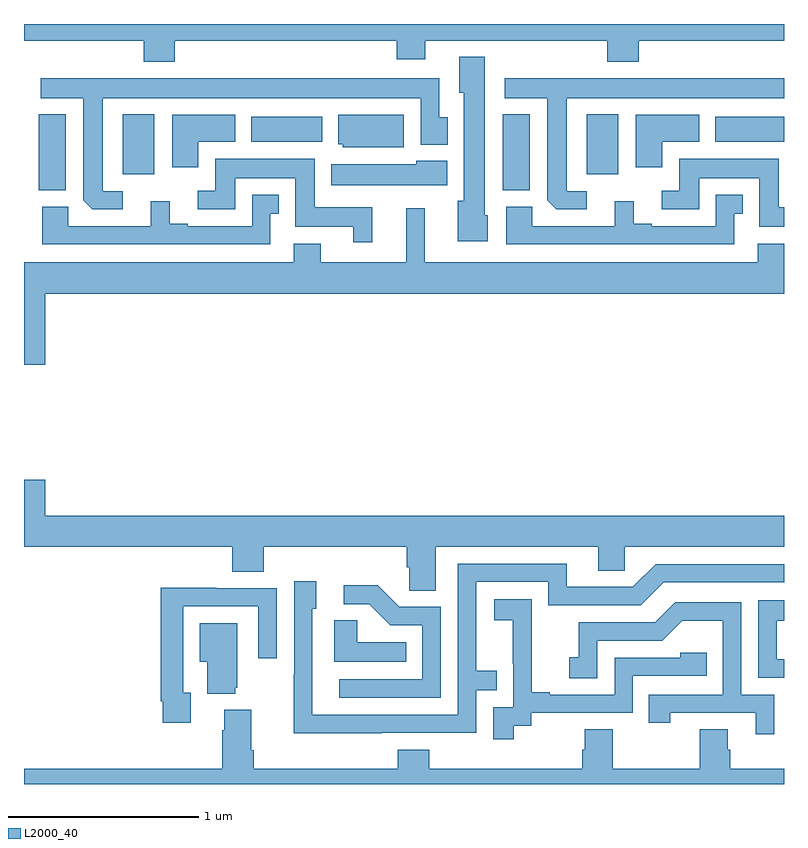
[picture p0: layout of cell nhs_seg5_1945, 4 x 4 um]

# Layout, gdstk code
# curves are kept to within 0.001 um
import gdstk
lib = gdstk.Library(unit=1e-6, precision=1e-09)
def R(c, l, rs):  # rectangles x0, y0, x1, y1
    for r in rs: c.add(gdstk.rectangle(r[:2], r[2:], *l))
def P(c, l, *ps):  # polygons
    for p in ps: c.add(gdstk.Polygon(p, *l))
L2000_40 = (2000, 40)

nhs_seg5_1945 = lib.new_cell('nhs_seg5_1945')
R(nhs_seg5_1945, L2000_40, [(225.077,903.923,225.22,904.324), (227.519,903.923,227.662,904.324), (225.521,904.008,225.685,904.324), (227.963,904.008,228.127,904.324), (226.196,904.178,226.57,904.312), (228.638,904.178,229,904.312)])
P(nhs_seg5_1945, L2000_40, [(225.794,904.712),(226.961,904.712),(226.961,904.613),(227.113,904.613),(227.113,904.712),(228.071,904.712),(228.071,904.601),(228.236,904.601),(228.236,904.712),(229,904.712),(229,904.799),(225,904.799),(225,904.712),(225.629,904.712),(225.629,904.601),(225.794,904.601)],
  [(227.44,903.792),(227.425,903.792),(227.425,904.627),(227.291,904.627),(227.291,904.437),(227.315,904.437),(227.315,903.87),(227.282,903.87),(227.282,903.656),(227.44,903.656)],
  [(227.962,903.918),(227.857,903.918),(227.857,904.409),(229,904.409),(229,904.513),(227.529,904.513),(227.529,904.409),(227.753,904.409),(227.754,903.871),(227.8,903.825),(227.962,903.825)],
  [(225.52,903.918),(225.415,903.918),(225.415,904.409),(227.088,904.409),(227.088,904.164),(227.23,904.164),(227.23,904.308),(227.185,904.308),(227.185,904.513),(225.087,904.513),(225.087,904.409),(225.311,904.409),(225.312,903.871),(225.358,903.825),(225.52,903.825)],
  [(228.358,904.178),(228.553,904.178),(228.553,904.321),(228.221,904.321),(228.221,904.044),(228.358,904.044)],
  [(225.916,904.178),(226.111,904.178),(226.111,904.321),(225.779,904.321),(225.779,904.044),(225.916,904.044)],
  [(226.999,904.321),(226.655,904.321),(226.655,904.167),(226.677,904.167),(226.677,904.151),(226.999,904.151)],
  [(229,903.835),(228.973,903.835),(228.973,904.09),(228.449,904.09),(228.449,903.921),(228.357,903.921),(228.357,903.825),(228.553,903.825),(228.553,903.986),(228.869,903.986),(228.869,903.731),(229,903.731)],
  [(226.832,903.835),(226.531,903.835),(226.531,904.09),(226.007,904.09),(226.007,903.921),(225.915,903.921),(225.915,903.825),(226.111,903.825),(226.111,903.986),(226.427,903.986),(226.427,903.731),(226.733,903.731),(226.733,903.651),(226.832,903.651)],
  [(227.227,904.078),(227.064,904.078),(227.064,904.06),(226.616,904.06),(226.616,903.95),(227.227,903.95)],
  [(228.738,903.801),(228.784,903.801),(228.784,903.901),(228.642,903.901),(228.642,903.735),(228.304,903.735),(228.304,903.748),(228.208,903.748),(228.208,903.865),(228.11,903.865),(228.11,903.735),(227.676,903.735),(227.676,903.838),(227.537,903.838),(227.537,903.639),(228.738,903.639)],
  [(226.296,903.801),(226.342,903.801),(226.342,903.901),(226.2,903.901),(226.2,903.735),(225.862,903.735),(225.862,903.748),(225.766,903.748),(225.766,903.865),(225.668,903.865),(225.668,903.735),(225.234,903.735),(225.234,903.838),(225.095,903.838),(225.095,903.639),(226.296,903.639)],
  [(225.112,903.38),(229,903.38),(229,903.643),(228.863,903.643),(228.863,903.544),(227.11,903.544),(227.11,903.829),(227.012,903.829),(227.012,903.544),(226.561,903.544),(226.561,903.643),(226.421,903.643),(226.421,903.544),(225,903.544),(225,903.006),(225.112,903.006)],
  [(227.167,902.048),(228.023,902.048),(228.023,901.921),(228.162,901.921),(228.162,902.048),(229,902.048),(229,902.212),(225.112,902.212),(225.112,902.401),(225,902.401),(225,902.048),(226.097,902.048),(226.097,901.915),(226.262,901.915),(226.262,902.048),(227.015,902.048),(227.015,901.939),(227.028,901.939),(227.028,901.816),(227.167,901.816)],
  [(226.883,901.068),(227.379,901.068),(227.379,901.293),(227.489,901.293),(227.489,901.394),(227.379,901.394),(227.379,901.863),(227.76,901.863),(227.76,901.74),(228.246,901.74),(228.366,901.86),(229,901.86),(229,901.956),(228.324,901.956),(228.204,901.836),(227.857,901.836),(227.857,901.959),(227.283,901.959),(227.283,901.164),(226.518,901.164),(226.518,901.722),(226.537,901.722),(226.537,901.867),(226.422,901.867),(226.422,901.373),(226.42,901.373),(226.42,901.067)],
  [(227.193,901.731),(226.974,901.731),(226.861,901.844),(226.683,901.844),(226.683,901.746),(226.817,901.746),(226.928,901.635),(227.097,901.635),(227.097,901.35),(226.659,901.35),(226.659,901.254),(227.193,901.254)],
  [(225.877,901.278),(225.837,901.278),(225.837,901.734),(226.233,901.734),(226.233,901.461),(226.329,901.461),(226.329,901.83),(226.013,901.83),(226.013,901.832),(225.721,901.832),(225.721,901.234),(225.729,901.234),(225.729,901.122),(225.877,901.122)],
  [(227.578,901.105),(227.67,901.105),(227.67,901.173),(228.204,901.173),(228.204,901.368),(228.593,901.368),(228.593,901.491),(228.453,901.491),(228.453,901.464),(228.108,901.464),(228.108,901.269),(227.767,901.269),(227.767,901.282),(227.672,901.282),(227.672,901.565),(227.673,901.565),(227.673,901.771),(227.475,901.771),(227.475,901.661),(227.573,901.661),(227.573,901.433),(227.574,901.433),(227.574,901.203),(227.469,901.203),(227.469,901.035),(227.578,901.035)],
  [(229,901.455),(228.961,901.455),(228.961,901.659),(229,901.659),(229,901.765),(228.864,901.765),(228.864,901.359),(229,901.359)],
  [(228.948,901.269),(228.774,901.269),(228.774,901.755),(228.428,901.755),(228.323,901.65),(227.92,901.65),(227.92,901.465),(227.871,901.465),(227.871,901.356),(228.018,901.356),(228.018,901.554),(228.36,901.554),(228.464,901.658),(228.678,901.658),(228.678,901.269),(228.289,901.269),(228.289,901.122),(228.4,901.122),(228.4,901.173),(228.851,901.173),(228.851,901.062),(228.948,901.062)],
  [(227.012,901.546),(226.755,901.546),(226.755,901.661),(226.634,901.661),(226.634,901.442),(227.012,901.442)],
  [(226.112,901.305),(226.123,901.305),(226.123,901.645),(225.926,901.645),(225.926,901.442),(225.965,901.442),(225.965,901.274),(226.112,901.274)],
  [(229,900.88),(228.716,900.88),(228.716,900.978),(228.703,900.978),(228.703,901.088),(228.556,901.088),(228.556,900.88),(228.099,900.88),(228.099,901.088),(227.951,901.088),(227.951,900.978),(227.939,900.978),(227.939,900.88),(227.132,900.88),(227.132,900.979),(226.967,900.979),(226.967,900.88),(226.208,900.88),(226.208,900.976),(226.195,900.976),(226.195,901.189),(226.055,901.189),(226.055,901.082),(226.043,901.082),(226.043,900.88),(225,900.88),(225,900.799),(229,900.799)])

lib.write_gds('nhs_seg5_1945.gds')
